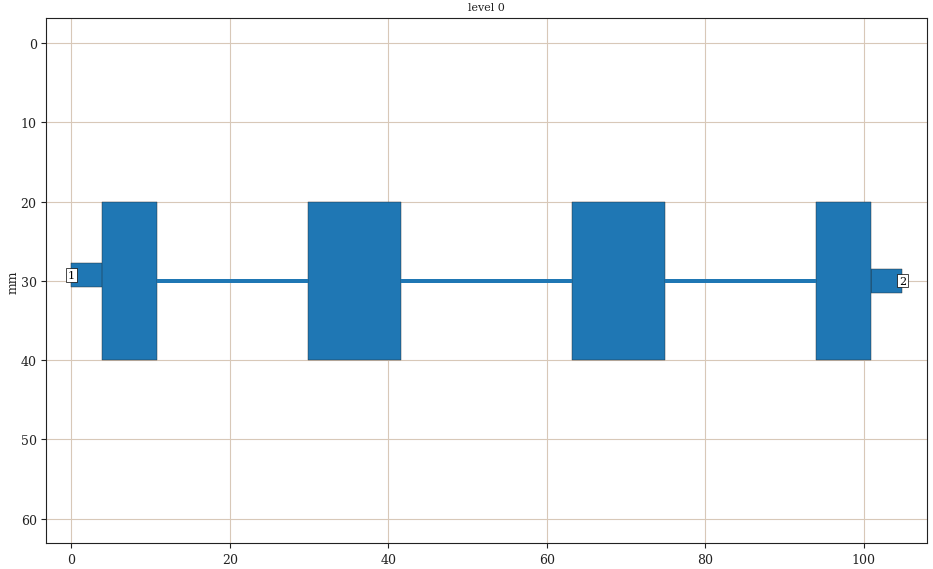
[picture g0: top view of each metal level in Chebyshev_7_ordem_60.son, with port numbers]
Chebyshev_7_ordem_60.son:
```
FTYP SONPROJ 13 ! Sonnet Project File
VER 15.53.lite
HEADER
LIC SL290709.106431 847bebfebdba DESKTOP-1CMJ3DP Arihe
DAT 06/22/2019 12:43:09
BUILT_BY_CREATED xgeom 15.53-Lite 04/13/2019 20:59:13
BUILT_BY_SAVED xgeom 15.53-Lite
MDATE 06/22/2019 12:43:09
HDATE 06/22/2019 12:43:09
END HEADER
DIM
FREQ GHZ
RSVY OHMM
IND NH
LNG MM
ANG DEG
CON /OH
CAP PF
RES OH
END DIM
FREQ
ABS 1.0e-9 3.0 
END FREQ
CONTROL
ABS
OPTIONS  -dj 
SPEED 0
CACHE_ABS 1
TARG_ABS 300
Q_ACC N
END CONTROL
GEO
DRP1 LEFT LINK
POLY 12 1
1
DRP1 RIGHT LINK
POLY 14 1
0
TMET "Lossless" 0 SUP 0 0 0 0
BMET "Lossless" 0 SUP 0 0 0 0
MET "Copper" 1 NOR 58000000 0 0.0347 
BOX 1 104.9 60 2098 300 20 0
      20 1 1 0 0 0 0 "Air"
      1.5306 4.1 1 0.02 0 0 0 "FR-4"
LORGN 0 60 U 
POR1 STD
POLY 12 1
3
1 50 0 0 0 -2.371834285e-009 29.25 
POR1 STD
POLY 14 1
1
2 50 0 0 0 104.9 30 
NUM 9
0 5 0 N 12 1 1 100 100 0 0 0 Y
-2.371834285e-009 27.7
3.999999997 27.7
3.999999997 30.8
-2.371834285e-009 30.8
-2.371834285e-009 27.7
END
0 5 0 N 14 1 1 100 100 0 0 0 Y
100.9 28.45
104.9 28.45
104.9 31.55
100.9 31.55
100.9 28.45
END
0 5 0 N 16 1 1 100 100 0 0 0 Y
3.899998017 20
10.79999802 20
10.79999802 40
3.899998017 40
3.899998017 20
END
0 5 0 N 17 1 1 100 100 0 0 0 Y
93.99999802 20
100.899998 20
100.899998 40
93.99999802 40
93.99999802 20
END
0 5 0 N 18 1 1 100 100 0 0 0 Y
29.89999802 20
41.59999802 20
41.59999802 40
29.89999802 40
29.89999802 20
END
0 5 0 N 19 1 1 100 100 0 0 0 Y
63.19999802 20
74.89999802 20
74.89999802 40
63.19999802 40
63.19999802 20
END
0 5 0 N 20 1 1 100 100 0 0 0 Y
10.79999802 29.75
29.89999802 29.75
29.89999802 30.25
10.79999802 30.25
10.79999802 29.75
END
0 5 0 N 21 1 1 100 100 0 0 0 Y
74.89999802 29.75
93.99999802 29.75
93.99999802 30.25
74.89999802 30.25
74.89999802 29.75
END
0 5 0 N 22 1 1 100 100 0 0 0 Y
41.59999802 29.75
63.19999802 29.75
63.19999802 30.25
41.59999802 30.25
41.59999802 29.75
END
END GEO
OPT
MAX 100
VARS
END
END OPT
VARSWP
END VARSWP
QSG
IMPORT NO
EXTRA_METAL NO
UNITS YES
ALIGN NO
REF NO
VIEW_RES NO
METALS YES
USED YES
END QSG
```
